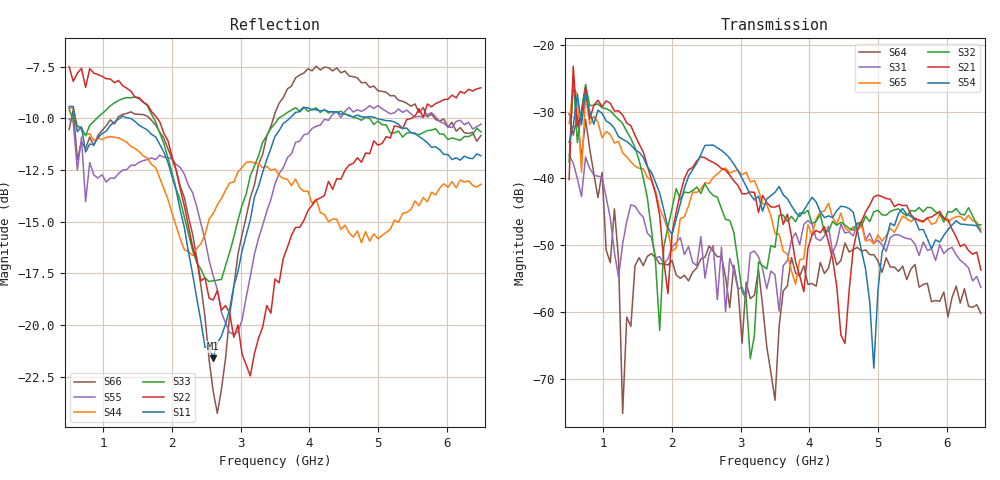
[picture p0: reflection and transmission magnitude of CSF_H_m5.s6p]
!Keysight Technologies,M9804A,MY58100912,A.14.10.03
!Date: Thursday, April 27, 2023 10:28:33
!Correction: S11(C  6-Port  )
!S12(C  6-Port  )
!S13(C  6-Port  )
!S14(C  6-Port  )
!S15(C  6-Port  )
!S16(C  6-Port  )
!S21(C  6-Port  )
!S22(C  6-Port  )
!S23(C  6-Port  )
!S24(C  6-Port  )
!S25(C  6-Port  )
!S26(C  6-Port  )
!S31(C  6-Port  )
!S32(C  6-Port  )
!S33(C  6-Port  )
!S34(C  6-Port  )
!S35(C  6-Port  )
!S36(C  6-Port  )
!S41(C  6-Port  )
!S42(C  6-Port  )
!S43(C  6-Port  )
!S44(C  6-Port  )
!S45(C  6-Port  )
!S46(C  6-Port  )
!S51(C  6-Port  )
!S52(C  6-Port  )
!S53(C  6-Port  )
!S54(C  6-Port  )
!S55(C  6-Port  )
!S56(C  6-Port  )
!S61(C  6-Port  )
!S62(C  6-Port  )
!S63(C  6-Port  )
!S64(C  6-Port  )
!S65(C  6-Port  )
!S66(C  6-Port  )
!S6P File: Measurement: :
# Hz S  RI  R 50
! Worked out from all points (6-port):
!   101 points, 500 MHz to 6.5 GHz, reference 50 ohm
!   strongest paths, dB at 500 MHz, 2 GHz, 3.5 GHz, 5 GHz, 6.5 GHz:
!     S54: -34.6, -48.4, -42.1, -56.7, -48.0
!     S21: -40.2, -48.2, -44.3, -42.5, -53.7
!     S32: -37.5, -44.5, -50.3, -44.7, -46.9
!     S65: -31.8, -50.9, -48.2, -48.4, -47.6
!     S31: -36.5, -50.2, -54.4, -49.2, -56.3
!     S64: -30.3, -52.2, -73.1, -52.3, -60.2
!   lowest |S11| = -21.6 dB at 2.6 GHz (marker M1), VSWR 1.18, Z = 42.6 + j2.05 ohm
!   |S11| at or under -10 dB: 588.1 MHz to 1.237 GHz (649 MHz wide, 71.1 % of centre); 1.38 GHz to 3.714 GHz (2.334 GHz wide, 91.6 % of centre); 4.977 GHz to end of sweep
